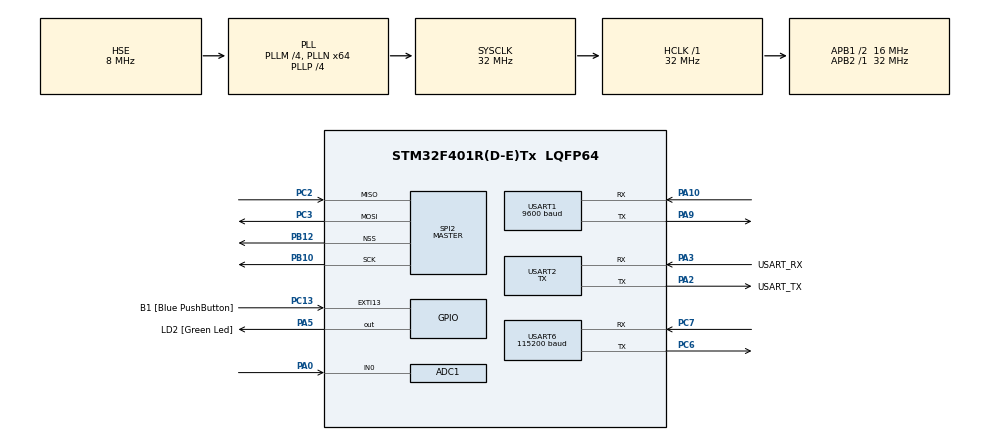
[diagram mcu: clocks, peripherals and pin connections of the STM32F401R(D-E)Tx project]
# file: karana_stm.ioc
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ADC1.Channel-3\#ChannelRegularConversion=ADC_CHANNEL_0
ADC1.ClockPrescaler=ADC_CLOCK_SYNC_PCLK_DIV4
ADC1.NbrOfConversionFlag=1
ADC1.Rank-3\#ChannelRegularConversion=1
ADC1.SamplingTime-3\#ChannelRegularConversion=ADC_SAMPLETIME_3CYCLES
ADC1.master=1
Dma.Request0=USART1_TX
Dma.Request1=USART6_TX
Dma.Request2=USART2_TX
Dma.USART1_TX.0.Direction=DMA_MEMORY_TO_PERIPH
Dma.USART1_TX.0.FIFOMode=DMA_FIFOMODE_DISABLE
Dma.USART1_TX.0.Instance=DMA2_Stream7
Dma.USART1_TX.0.MemDataAlignment=DMA_MDATAALIGN_BYTE
Dma.USART1_TX.0.MemInc=DMA_MINC_ENABLE
Dma.USART1_TX.0.Mode=DMA_NORMAL
Dma.USART1_TX.0.PeriphDataAlignment=DMA_PDATAALIGN_BYTE
Dma.USART1_TX.0.PeriphInc=DMA_PINC_DISABLE
Dma.USART1_TX.0.Priority=DMA_PRIORITY_LOW
Dma.USART2_TX.2.Direction=DMA_MEMORY_TO_PERIPH
Dma.USART2_TX.2.FIFOMode=DMA_FIFOMODE_DISABLE
Dma.USART2_TX.2.Instance=DMA1_Stream6
Dma.USART2_TX.2.MemDataAlignment=DMA_MDATAALIGN_BYTE
Dma.USART2_TX.2.MemInc=DMA_MINC_ENABLE
Dma.USART2_TX.2.Mode=DMA_NORMAL
Dma.USART2_TX.2.PeriphDataAlignment=DMA_PDATAALIGN_BYTE
Dma.USART2_TX.2.PeriphInc=DMA_PINC_DISABLE
Dma.USART2_TX.2.Priority=DMA_PRIORITY_LOW
Dma.USART6_TX.1.Direction=DMA_MEMORY_TO_PERIPH
Dma.USART6_TX.1.FIFOMode=DMA_FIFOMODE_DISABLE
Dma.USART6_TX.1.Instance=DMA2_Stream6
Dma.USART6_TX.1.MemDataAlignment=DMA_MDATAALIGN_BYTE
Dma.USART6_TX.1.MemInc=DMA_MINC_ENABLE
Dma.USART6_TX.1.Mode=DMA_NORMAL
Dma.USART6_TX.1.PeriphDataAlignment=DMA_PDATAALIGN_BYTE
Dma.USART6_TX.1.PeriphInc=DMA_PINC_DISABLE
Dma.USART6_TX.1.Priority=DMA_PRIORITY_LOW
FATFS._FS_LOCK=3
FATFS._FS_NORTC=1
FATFS._USE_MKFS=0
FREERTOS.Tasks01=defaultTask,0,128,StartDefaultTask,Default,NULL
FREERTOS.configTOTAL_HEAP_SIZE=20480
Mcu.Family=STM32F4
Mcu.Name=STM32F401R(D-E)Tx
Mcu.Package=LQFP64
NVIC.DMA1_Stream6_IRQn=true\:5\:0\:false\:false\:true\:true\:false
NVIC.DMA2_Stream6_IRQn=true\:5\:0\:false\:false\:true\:true\:false
NVIC.DMA2_Stream7_IRQn=true\:5\:0\:false\:false\:true\:true\:false
NVIC.PriorityGroup=NVIC_PRIORITYGROUP_4
NVIC.TIM1_UP_TIM10_IRQn=true\:0\:0\:false\:false\:true\:false\:false
NVIC.TimeBase=TIM1_UP_TIM10_IRQn
NVIC.TimeBaseIP=TIM1
PA0-WKUP.Signal=ADCx_IN0
PA10.Mode=Asynchronous
PA10.Signal=USART1_RX
PA13.GPIO_Label=TMS
PA13.Mode=Serial_Wire
PA13.Signal=SYS_JTMS-SWDIO
PA14.GPIO_Label=TCK
PA14.Mode=Serial_Wire
PA14.Signal=SYS_JTCK-SWCLK
PA2.GPIO_Label=USART_TX
PA2.GPIO_Mode=GPIO_MODE_AF_PP
PA2.GPIO_PuPd=GPIO_NOPULL
PA2.GPIO_Speed=GPIO_SPEED_FREQ_LOW
PA2.Mode=Asynchronous
PA2.Signal=USART2_TX
PA3.GPIO_Label=USART_RX
PA3.GPIO_Mode=GPIO_MODE_AF_PP
PA3.GPIO_PuPd=GPIO_NOPULL
PA3.GPIO_Speed=GPIO_SPEED_FREQ_LOW
PA3.Mode=Asynchronous
PA3.Signal=USART2_RX
PA5.GPIO_Label=LD2 [Green Led]
PA5.GPIO_Mode=GPIO_MODE_OUTPUT_PP
PA5.GPIO_PuPd=GPIO_NOPULL
PA5.GPIO_Speed=GPIO_SPEED_FREQ_LOW
PA5.Signal=GPIO_Output
PA9.Mode=Asynchronous
PA9.Signal=USART1_TX
PB10.Mode=Full_Duplex_Master
PB10.Signal=SPI2_SCK
PB12.Mode=NSS_Signal_Hard_Output
PB12.Signal=SPI2_NSS
PB3.GPIO_Label=SWO
PB3.Signal=SYS_JTDO-SWO
PC13-ANTI_TAMP.GPIO_Label=B1 [Blue PushButton]
PC13-ANTI_TAMP.GPIO_ModeDefaultEXTI=GPIO_MODE_IT_FALLING
PC13-ANTI_TAMP.GPIO_PuPd=GPIO_NOPULL
PC13-ANTI_TAMP.Signal=GPXTI13
PC14-OSC32_IN.Mode=LSE-External-Oscillator
PC14-OSC32_IN.Signal=RCC_OSC32_IN
PC15-OSC32_OUT.Mode=LSE-External-Oscillator
PC15-OSC32_OUT.Signal=RCC_OSC32_OUT
PC2.Mode=Full_Duplex_Master
PC2.Signal=SPI2_MISO
PC3.Mode=Full_Duplex_Master
PC3.Signal=SPI2_MOSI
PC6.Mode=Asynchronous
PC6.Signal=USART6_TX
PC7.Mode=Asynchronous
PC7.Signal=USART6_RX
PH0\ -\ OSC_IN.Mode=HSE-External-Clock-Source
PH0\ -\ OSC_IN.Signal=RCC_OSC_IN
PH1\ -\ OSC_OUT.Mode=HSE-External-Clock-Source
PH1\ -\ OSC_OUT.Signal=RCC_OSC_OUT
ProjectManager.HeapSize=0x200
ProjectManager.StackSize=0x400
ProjectManager.TargetToolchain=SW4STM32
RCC.48MHZClocksFreq_Value=18285714.285714287
RCC.AHBFreq_Value=32000000
RCC.APB1CLKDivider=RCC_HCLK_DIV2
RCC.APB1Freq_Value=16000000
RCC.APB1TimFreq_Value=32000000
RCC.APB2Freq_Value=32000000
RCC.APB2TimFreq_Value=32000000
RCC.CortexFreq_Value=32000000
RCC.HCLKFreq_Value=32000000
RCC.HSE_VALUE=8000000
RCC.HSI_VALUE=16000000
RCC.PLLM=4
RCC.PLLN=64
RCC.PLLP=RCC_PLLP_DIV4
RCC.PLLQ=7
RCC.PLLSourceVirtual=RCC_PLLSOURCE_HSE
RCC.RCC_RTC_Clock_SourceVirtual=RCC_RTCCLKSOURCE_HSE_DIV16
RCC.RCC_RTC_Clock_Source_FROM_HSE=RCC_RTCCLKSOURCE_HSE_DIV16
RCC.SYSCLKFreq_VALUE=32000000
RCC.SYSCLKSource=RCC_SYSCLKSOURCE_PLLCLK
RCC.VCOOutputFreq_Value=128000000
SH.ADCx_IN0.0=ADC1_IN0,IN0
SPI2.Direction=SPI_DIRECTION_2LINES
SPI2.Mode=SPI_MODE_MASTER
SPI2.VirtualNSS=VM_NSSHARD
SPI2.VirtualType=VM_MASTER
USART1.BaudRate=9600
USART1.VirtualMode=VM_ASYNC
USART2.Mode=MODE_TX
USART2.VirtualMode=VM_ASYNC
USART6.BaudRate=115200
USART6.VirtualMode=VM_ASYNC
VP_FATFS_VS_Generic.Mode=User_defined
VP_FREERTOS_VS_ENABLE.Mode=Enabled
VP_SYS_VS_tim1.Mode=TIM1
board=NUCLEO-F401RE

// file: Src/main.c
/* USER CODE BEGIN Header */
/**
  ******************************************************************************
  * @file           : main.c
  * @brief          : Main program body
  ******************************************************************************
  * This notice applies to any and all portions of this file
  * that are not between comment pairs USER CODE BEGIN and
  * USER CODE END. Other portions of this file, whether
  * inserted by the user or by software development tools
  * are owned by their respective copyright owners.
  *
  * Copyright (c) 2019 STMicroelectronics International N.V.
  * All rights reserved.
  *
  * Redistribution and use in source and binary forms, with or without
  * modification, are permitted, provided that the following conditions are met:
  *
  * 1. Redistribution of source code must retain the above copyright notice,
  *    this list of conditions and the following disclaimer.
  * 2. Redistributions in binary form must reproduce the above copyright notice,
  *    this list of conditions and the following disclaimer in the documentation
  *    and/or other materials provided with the distribution.
  * 3. Neither the name of STMicroelectronics nor the names of other
  *    contributors to this software may be used to endorse or promote products
  *    derived from this software without specific written permission.
  * 4. This software, including modifications and/or derivative works of this
  *    software, must execute solely and exclusively on microcontroller or
  *    microprocessor devices manufactured by or for STMicroelectronics.
  * 5. Redistribution and use of this software other than as permitted under
  *    this license is void and will automatically terminate your rights under
  *    this license.
  *
  * THIS SOFTWARE IS PROVIDED BY STMICROELECTRONICS AND CONTRIBUTORS "AS IS"
  * AND ANY EXPRESS, IMPLIED OR STATUTORY WARRANTIES, INCLUDING, BUT NOT
  * LIMITED TO, THE IMPLIED WARRANTIES OF MERCHANTABILITY, FITNESS FOR A
  * PARTICULAR PURPOSE AND NON-INFRINGEMENT OF THIRD PARTY INTELLECTUAL PROPERTY
  * RIGHTS ARE DISCLAIMED TO THE FULLEST EXTENT PERMITTED BY LAW. IN NO EVENT
  * SHALL STMICROELECTRONICS OR CONTRIBUTORS BE LIABLE FOR ANY DIRECT, INDIRECT,
  * INCIDENTAL, SPECIAL, EXEMPLARY, OR CONSEQUENTIAL DAMAGES (INCLUDING, BUT NOT
  * LIMITED TO, PROCUREMENT OF SUBSTITUTE GOODS OR SERVICES; LOSS OF USE, DATA,
  * OR PROFITS; OR BUSINESS INTERRUPTION) HOWEVER CAUSED AND ON ANY THEORY OF
  * LIABILITY, WHETHER IN CONTRACT, STRICT LIABILITY, OR TORT (INCLUDING
  * NEGLIGENCE OR OTHERWISE) ARISING IN ANY WAY OUT OF THE USE OF THIS SOFTWARE,
  * EVEN IF ADVISED OF THE POSSIBILITY OF SUCH DAMAGE.
  *
  ******************************************************************************
  */
/* USER CODE END Header */

#include "main.h"
#include "cmsis_os.h"
#include "adc.h"
#include "dma.h"
#include "fatfs.h"
#include "spi.h"
#include "usart.h"
#include "gpio.h"

/* USER CODE BEGIN Includes */
#include "user_entry.h"
/* USER CODE END Includes */

/* USER CODE BEGIN PV */
/* Private variables ---------------------------------------------------------*/

/* USER CODE END PV */

void SystemClock_Config(void);
void MX_FREERTOS_Init(void);
/* USER CODE BEGIN PFP */
/* Private function prototypes -----------------------------------------------*/

/* USER CODE END PFP */

int main(void)
{

  /* MCU Configuration--------------------------------------------------------*/

  /* Reset of all peripherals, Initializes the Flash interface and the Systick. */
  HAL_Init();

  /* Configure the system clock */
  SystemClock_Config();

  /* Initialize all configured peripherals */
  MX_GPIO_Init();
  MX_DMA_Init();
  MX_USART1_UART_Init();
  MX_USART2_UART_Init();
  MX_SPI2_Init();
  MX_USART6_UART_Init();
  MX_ADC1_Init();
  /* USER CODE BEGIN 2 */

  user_entry();
  /* USER CODE END 2 */

  /* Call init function for freertos objects (in freertos.c) */
  MX_FREERTOS_Init();

  /* Start scheduler */
  osKernelStart();

  /* We should never get here as control is now taken by the scheduler */

  /* Infinite loop */
  while (1)
  {

  }
}

void SystemClock_Config(void)
{
  RCC_OscInitTypeDef RCC_OscInitStruct = {0};
  RCC_ClkInitTypeDef RCC_ClkInitStruct = {0};

  /**Configure the main internal regulator output voltage
  */
  __HAL_RCC_PWR_CLK_ENABLE();
  __HAL_PWR_VOLTAGESCALING_CONFIG(PWR_REGULATOR_VOLTAGE_SCALE2);
  /**Initializes the CPU, AHB and APB busses clocks
  */
  RCC_OscInitStruct.OscillatorType = RCC_OSCILLATORTYPE_HSE;
  RCC_OscInitStruct.HSEState = RCC_HSE_BYPASS;
  RCC_OscInitStruct.PLL.PLLState = RCC_PLL_ON;
  RCC_OscInitStruct.PLL.PLLSource = RCC_PLLSOURCE_HSE;
  RCC_OscInitStruct.PLL.PLLM = 4;
  RCC_OscInitStruct.PLL.PLLN = 64;
  RCC_OscInitStruct.PLL.PLLP = RCC_PLLP_DIV4;
  RCC_OscInitStruct.PLL.PLLQ = 7;
  if (HAL_RCC_OscConfig(&RCC_OscInitStruct) != HAL_OK)
  {
    Error_Handler();
  }
  /**Initializes the CPU, AHB and APB busses clocks
  */
  RCC_ClkInitStruct.ClockType = RCC_CLOCKTYPE_HCLK|RCC_CLOCKTYPE_SYSCLK
                              |RCC_CLOCKTYPE_PCLK1|RCC_CLOCKTYPE_PCLK2;
  RCC_ClkInitStruct.SYSCLKSource = RCC_SYSCLKSOURCE_PLLCLK;
  RCC_ClkInitStruct.AHBCLKDivider = RCC_SYSCLK_DIV1;
  RCC_ClkInitStruct.APB1CLKDivider = RCC_HCLK_DIV2;
  RCC_ClkInitStruct.APB2CLKDivider = RCC_HCLK_DIV1;

  if (HAL_RCC_ClockConfig(&RCC_ClkInitStruct, FLASH_LATENCY_1) != HAL_OK)
  {
    Error_Handler();
  }
}

void HAL_TIM_PeriodElapsedCallback(TIM_HandleTypeDef *htim)
{
  if (htim->Instance == TIM1) {
    HAL_IncTick();
  }
}

void Error_Handler(void)
{
  while(1)
  {
  }
}

/************************ (C) COPYRIGHT STMicroelectronics *****END OF FILE****/

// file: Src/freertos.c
/* USER CODE BEGIN Header */
/**
  ******************************************************************************
  * File Name          : freertos.c
  * Description        : Code for freertos applications
  ******************************************************************************
  * This notice applies to any and all portions of this file
  * that are not between comment pairs USER CODE BEGIN and
  * USER CODE END. Other portions of this file, whether
  * inserted by the user or by software development tools
  * are owned by their respective copyright owners.
  *
  * Copyright (c) 2018 STMicroelectronics International N.V.
  * All rights reserved.
  *
  * Redistribution and use in source and binary forms, with or without
  * modification, are permitted, provided that the following conditions are met:
  *
  * 1. Redistribution of source code must retain the above copyright notice,
  *    this list of conditions and the following disclaimer.
  * 2. Redistributions in binary form must reproduce the above copyright notice,
  *    this list of conditions and the following disclaimer in the documentation
  *    and/or other materials provided with the distribution.
  * 3. Neither the name of STMicroelectronics nor the names of other
  *    contributors to this software may be used to endorse or promote products
  *    derived from this software without specific written permission.
  * 4. This software, including modifications and/or derivative works of this
  *    software, must execute solely and exclusively on microcontroller or
  *    microprocessor devices manufactured by or for STMicroelectronics.
  * 5. Redistribution and use of this software other than as permitted under
  *    this license is void and will automatically terminate your rights under
  *    this license.
  *
  * THIS SOFTWARE IS PROVIDED BY STMICROELECTRONICS AND CONTRIBUTORS "AS IS"
  * AND ANY EXPRESS, IMPLIED OR STATUTORY WARRANTIES, INCLUDING, BUT NOT
  * LIMITED TO, THE IMPLIED WARRANTIES OF MERCHANTABILITY, FITNESS FOR A
  * PARTICULAR PURPOSE AND NON-INFRINGEMENT OF THIRD PARTY INTELLECTUAL PROPERTY
  * RIGHTS ARE DISCLAIMED TO THE FULLEST EXTENT PERMITTED BY LAW. IN NO EVENT
  * SHALL STMICROELECTRONICS OR CONTRIBUTORS BE LIABLE FOR ANY DIRECT, INDIRECT,
  * INCIDENTAL, SPECIAL, EXEMPLARY, OR CONSEQUENTIAL DAMAGES (INCLUDING, BUT NOT
  * LIMITED TO, PROCUREMENT OF SUBSTITUTE GOODS OR SERVICES; LOSS OF USE, DATA,
  * OR PROFITS; OR BUSINESS INTERRUPTION) HOWEVER CAUSED AND ON ANY THEORY OF
  * LIABILITY, WHETHER IN CONTRACT, STRICT LIABILITY, OR TORT (INCLUDING
  * NEGLIGENCE OR OTHERWISE) ARISING IN ANY WAY OUT OF THE USE OF THIS SOFTWARE,
  * EVEN IF ADVISED OF THE POSSIBILITY OF SUCH DAMAGE.
  *
  ******************************************************************************
  */
/* USER CODE END Header */

#include "FreeRTOS.h"
#include "task.h"
#include "main.h"
#include "cmsis_os.h"

/* USER CODE BEGIN Variables */
osSemaphoreId UART1_DMA_TX_lock;
osSemaphoreDef(UART1_DMA_TX_lock);

osSemaphoreId UART2_DMA_TX_lock;
osSemaphoreDef(UART2_DMA_TX_lock);

osSemaphoreId UART6_TX_lock;
osSemaphoreId UART6_RX_lock;

osSemaphoreDef(UART6_TX_lock);
osSemaphoreDef(UART6_RX_lock);

osMutexId time_lock;
osMutexDef(time_lock);

//osMutexId dbg_println_lock;
//osMutexDef(dbg_println_lock);

/* USER CODE END Variables */
osThreadId defaultTaskHandle;

void StartDefaultTask(void const * argument);

extern void MX_FATFS_Init(void);
void MX_FREERTOS_Init(void); /* (MISRA C 2004 rule 8.1) */

void MX_FREERTOS_Init(void) {

  /* USER CODE BEGIN RTOS_MUTEX */
  /* add mutexes, ... */
	time_lock = osMutexCreate(osMutex(time_lock));
//	dbg_println_lock = osMutexCreate(osMutex(dbg_println_lock));
  /* USER CODE END RTOS_MUTEX */

  /* USER CODE BEGIN RTOS_SEMAPHORES */
  /* add semaphores, ... */
	UART1_DMA_TX_lock = osSemaphoreCreate(osSemaphore(UART1_DMA_TX_lock), 1);
	UART2_DMA_TX_lock = osSemaphoreCreate(osSemaphore(UART2_DMA_TX_lock), 1);

	UART6_TX_lock = osSemaphoreCreate(osSemaphore(UART6_TX_lock), 1);
	UART6_RX_lock = osSemaphoreCreate(osSemaphore(UART6_RX_lock), 1);

  /* USER CODE END RTOS_SEMAPHORES */

  /* Create the thread(s) */
  /* definition and creation of defaultTask */
  osThreadDef(defaultTask, StartDefaultTask, osPriorityNormal, 0, 128);
  defaultTaskHandle = osThreadCreate(osThread(defaultTask), NULL);

}

void StartDefaultTask(void const * argument)
{
  /* init code for FATFS */
  MX_FATFS_Init();

  for(;;)
  {
    osDelay(1);
  }
}

/************************ (C) COPYRIGHT STMicroelectronics *****END OF FILE****/
